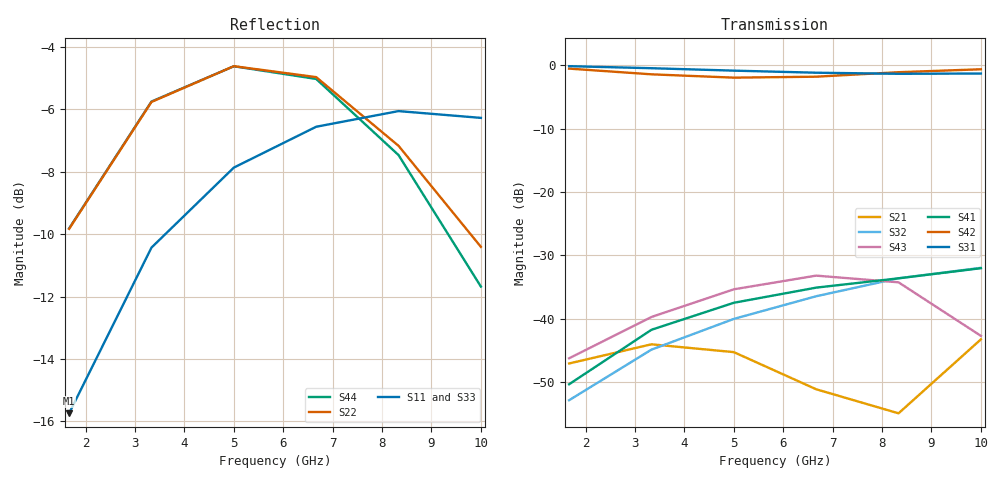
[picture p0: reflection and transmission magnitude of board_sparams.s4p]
! Created Sat Mar 16 16:56:40 2024
! List of port names and net name(s): example Port n = <port_name> <net_name1> <net_name2> ...
! Port 1 = P1 P3
! Port 2 = P2 P4
! Port 3 = P3 P3
! Port 4 = P4 P4
# hz S ma R 50
! 4 Port Network Data from data block
! freq  magS11  angS11  magS12  angS12  magS13  angS13  magS14  angS14
!  magS21  angS21  magS22  angS22  magS23  angS23  magS24  angS24
!  magS31  angS31  magS32  angS32  magS33  angS33  magS34  angS34
!  magS41  angS41  magS42  angS42  magS43  angS43  magS44  angS44
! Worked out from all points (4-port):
!   6 points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, 1.667 GHz to 10 GHz, reference 50 ohm
!   strongest paths, dB at 1.667 GHz, 3.333 GHz, 6.667 GHz, 8.333 GHz, 10 GHz:
!     S31: -0.2, -0.5, -1.2, -1.4, -1.3
!     S42: -0.6, -1.5, -1.8, -1.1, -0.7
!     S41: -50.3, -41.7, -35.1, -33.6, -32.0
!     S43: -46.2, -39.7, -33.2, -34.2, -42.7
!     S32: -52.8, -44.9, -36.4, -33.6, -32.0
!     S21: -47.0, -44.0, -51.1, -54.9, -43.2
!   lowest |S11| = -15.7 dB at 1.667 GHz (marker M1), VSWR 1.39, Z = 54.7 + j16.7 ohm
!   |S11| at or under -10 dB: start of sweep to 3.614 GHz
1.666668e9  0.1633 65.2  0.004448 42.4  0.9804 -25.9  0.003051 92.9
            0.004448 42.4  0.3224 55.9  0.002283 81.5  0.9378 -38.9
            0.9804 -25.9  0.002283 81.5  0.1635 59.1  0.004886 80.0
            0.003051 92.9  0.9378 -38.9  0.004886 80.0  0.323 43.6
3.333334e9  0.3009 43.9  0.0063 4.1  0.9448 -50.8  0.0082 57.2
            0.0063 4.1  0.5148 29.3  0.00572 48.8  0.8456 -72.4
            0.9448 -50.8  0.00572 48.8  0.3013 31.9  0.01034 75.3
            0.0082 57.2  0.8456 -72.4  0.01034 75.3  0.5157 4.2
5e9  0.4041 23.2  0.005465 -28.8  0.904 -74.3  0.01338 20.9
     0.005465 -28.8  0.5875 7.5  0.009987 12.9  0.796 -101.8
     0.904 -74.3  0.009987 12.9  0.4045 6.3  0.01709 62.4
     0.01338 20.9  0.796 -101.8  0.01709 62.4  0.5873 -32.0
6.666667e9  0.4699 3.3  0.002786 -64.6  0.8707 -96.5  0.01762 -11.0
            0.002786 -64.6  0.5642 -11.3  0.01507 -22.6  0.81 -130.6
            0.8707 -96.5  0.01507 -22.6  0.47 -17.6  0.02191 41.8
            0.01762 -11.0  0.81 -130.6  0.02191 41.8  0.5604 -69.7
8.333334e9  0.4978 -16.6  0.0018 130.0  0.8536 -117.9  0.02086 -37.0
            0.0018 130.0  0.438 -24.8  0.02088 -60.6  0.8788 -163.1
            0.8536 -117.9  0.02088 -60.6  0.4978 -39.8  0.01941 18.1
            0.02086 -37.0  0.8788 -163.1  0.01941 18.1  0.4233 -119.4
1e10  0.4855 -37.2  0.006886 78.7  0.8581 -139.1  0.02507 -57.5
      0.006886 78.7  0.3017 -7.4  0.02524 -103.4  0.9267 157.5
      0.8581 -139.1  0.02524 -103.4  0.4859 -61.0  0.007344 32.6
      0.02507 -57.5  0.9267 157.5  0.007344 32.6  0.2606 141.9
